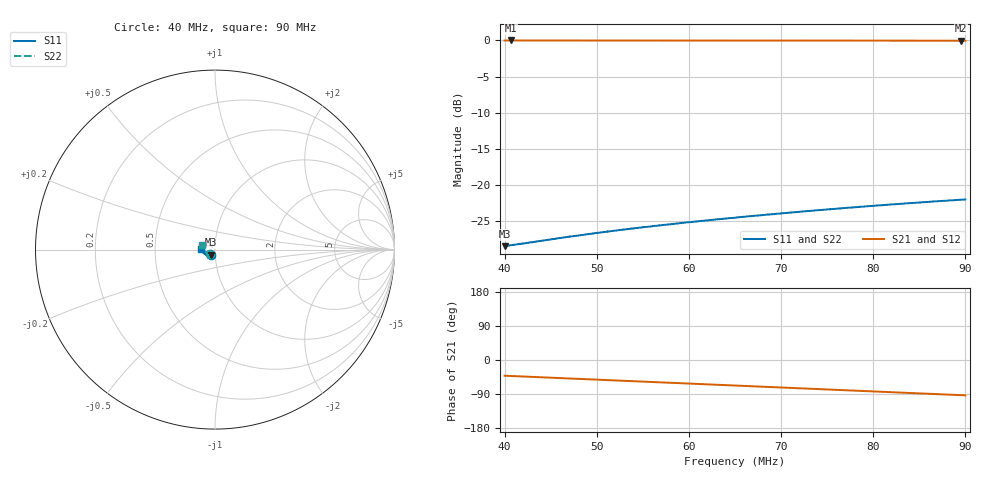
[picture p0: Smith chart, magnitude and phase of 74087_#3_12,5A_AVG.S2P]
!Agilent Technologies,E5061B,MY49102235,A.02.00
!Date: Mon Jul 03 11:19:58 2023
!Data & Calibration Information:
!Freq	S11:SOLT2(ON)	S21:SOLT2(ON)	S12:SOLT2(ON)	S22:SOLT2(ON)
# Hz S RI R 50
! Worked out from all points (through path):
!   1600 points, 40 MHz to 90 MHz, reference 50 ohm
!   highest |S21| = 0.00 dB at 40.69 MHz (marker M1); lowest = 0.0 dB at 89.5 MHz (marker M2)
!   group delay of S21, straight-line fit = 2.88 ns
!   lowest |S11| = -28.5 dB at 40 MHz (marker M3), VSWR 1.08, Z = 47.5 - j2.74 ohm
!   |S11| at or under -10 dB: start of sweep to end of sweep
!   |S22| runs from -28.6 to -22.0 dB; largest |S21 - S12| = 0.0013
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4e7  -0.0245 -0.0287  0.7488 -0.6619  0.7489 -0.6611  -0.0284 -0.024
4.068793e7  -0.0252 -0.0289  0.7407 -0.6712  0.7408 -0.6703  -0.0292 -0.024
4.300188e7  -0.0278 -0.0292  0.7117 -0.7014  0.7119 -0.7009  -0.0322 -0.0237
4.444028e7  -0.0293 -0.0295  0.693 -0.7195  0.6933 -0.7191  -0.0341 -0.0234
4.834897e7  -0.0337 -0.0299  0.6404 -0.7665  0.6405 -0.7662  -0.039 -0.022
5.000625e7  -0.0358 -0.03  0.6171 -0.7853  0.6171 -0.7849  -0.0411 -0.0212
5.225766e7  -0.0383 -0.03  0.5844 -0.8098  0.5844 -0.8093  -0.0438 -0.02
5.482176e7  -0.0412 -0.0297  0.5462 -0.8356  0.5462 -0.8354  -0.0469 -0.0182
5.666667e7  -0.0435 -0.0294  0.518 -0.8531  0.5179 -0.8528  -0.0491 -0.0167
6.082552e7  -0.0485 -0.0281  0.4526 -0.8894  0.4525 -0.8889  -0.0535 -0.0133
6.501563e7  -0.0538 -0.0257  0.3839 -0.9212  0.3841 -0.9204  -0.0579 -0.00929
6.901814e7  -0.0587 -0.0226  0.3163 -0.9465  0.3168 -0.9458  -0.0618 -0.00502
7.133208e7  -0.0614 -0.0206  0.2762 -0.9589  0.2768 -0.9582  -0.0641 -0.00218
7.33646e7  -0.0638 -0.0188  0.2406 -0.9684  0.2413 -0.9677  -0.0659 0.000356
7.533458e7  -0.0658 -0.0166  0.2059 -0.9761  0.2064 -0.9757  -0.0673 0.00295
7.746091e7  -0.0681 -0.0145  0.1681 -0.983  0.1685 -0.9826  -0.0692 0.006
7.936836e7  -0.0702 -0.0124  0.1339 -0.9878  0.1344 -0.9876  -0.0705 0.00902
8.16823e7  -0.0725 -0.0099  0.0925 -0.9923  0.093 -0.9921  -0.0719 0.0127
8.358974e7  -0.0742 -0.00763  0.0583 -0.9948  0.0587 -0.9943  -0.0729 0.0159
8.596623e7  -0.0763 -0.00474  0.0157 -0.996  0.016 -0.9957  -0.0737 0.02
8.949969e7  -0.0791 4.61e-05  -0.0475 -0.9945  -0.0473 -0.9941  -0.0747 0.0263
9e7  -0.0796 0.000695  -0.0562 -0.994  -0.0562 -0.9937  -0.0748 0.0272
